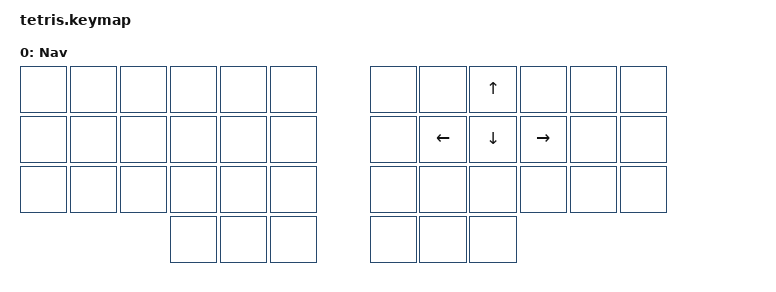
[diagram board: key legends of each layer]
#include <behaviors.dtsi>
#include <dt-bindings/zmk/keys.h>

/ {
    keymap {
        compatible = "zmk,keymap";

        Nav {
            bindings = <
&none  &none  &none  &none  &none  &none    &none  &none     &kp UP    &none      &none  &none
&none  &none  &none  &none  &none  &none    &none  &kp LEFT  &kp DOWN  &kp RIGHT  &none  &none
&none  &none  &none  &none  &none  &none    &none  &none     &none     &none      &none  &none
                     &none  &none  &none    &none  &none     &none
            >;
        };
    };
};
